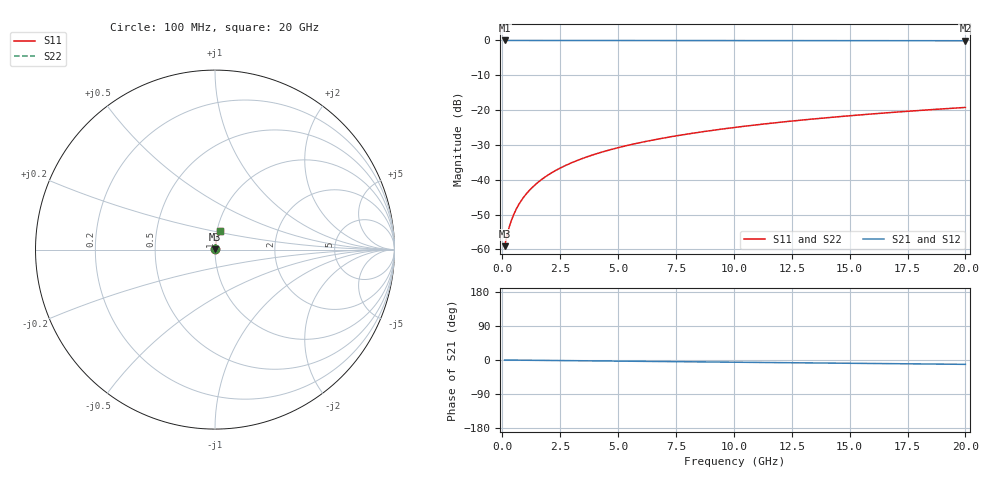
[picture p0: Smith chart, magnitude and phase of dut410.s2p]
! Touchstone file exported from HFSS 2026.1.0
!  File:  C:/ffzhzh/LocalFiles/Ansys_Project_Files/temp_train_TMRDL_410_1783005067_53980.aedt
!  Generated:  11:12:26 PM Jul  2, 2026
!  Design:  TMRDL
!  Project:  temp_train_TMRDL_410_1783005067_53980
! Variables:
!  h_bsmrdl = 2um
!  h_ox = 20um
!  h_rdl = 5um
!  h_sub = 80um
!  h_tmrdl = 5.96um
!  h_tsv = 80um
!  h_via = 3um
!  l_bsmrdl = 300um
!  l_sub = 556.67um
!  l_tmrdl = 156.67um
!  m_sub = 200um
!  pitch = 29.08um
!  r_tsv = 6um
!  s_tmrdl = 10um
!  w_bsmrdl = 18um
!  w_sub = 500um
!  w_tmrdl = 11.27um
!  x_tsv_center1 = 162.305um
!  x_tsv_center2 = 480.305um
!  x_tsv_center3 = 648.245um
!  x_tsv_center4 = 966.245um
!  x_tsv_center5 = 1134.185um
!  x_tsv_center6 = 1452.185um
# GHz S MA R 50.000000
! Terminal data exported
! Port[1] = TM_RDL1_1_T1
! Port[2] = TM_RDL1_1_T2
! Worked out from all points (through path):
!   200 points, 100 MHz to 20 GHz, reference 50 ohm
!   highest |S21| = -0.01 dB at 100 MHz (marker M1); lowest = -0.1 dB at 20 GHz (marker M2)
!   group delay of S21, straight-line fit = 1.59 ps
!   lowest |S11| = -59.0 dB at 100 MHz (marker M3), VSWR 1.00, Z = 50.1 + j0.0633 ohm
!   |S11| at or under -10 dB: start of sweep to end of sweep
!   |S22| runs from -59.0 to -19.2 dB; largest |S21 - S12| = 2e-15
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0.1  0.001116 34.5  0.9991 -0.1  0.9991 -0.1  0.001116 34.5
! Gamma 0 0 0 0
! Port Impedance 50 0 50 0
0.2  0.00157 52.9  0.9991 -0.1  0.9991 -0.1  0.00157 52.9
0.3  0.002101 62.1  0.999 -0.2  0.999 -0.2  0.002101 62.1
0.4  0.002655 67.5  0.999 -0.2  0.999 -0.2  0.002655 67.5
0.5  0.003216 71.0  0.999 -0.3  0.999 -0.3  0.003216 71.0
0.6  0.003781 73.4  0.9989 -0.4  0.9989 -0.4  0.003781 73.4
0.8  0.004921 76.7  0.9989 -0.5  0.9989 -0.5  0.004921 76.7
1.1  0.006646 79.4  0.9988 -0.7  0.9988 -0.7  0.006646 79.4
1.3  0.007802 80.6  0.9988 -0.8  0.9988 -0.8  0.007802 80.6
1.6  0.009539 81.6  0.9987 -1.0  0.9987 -1.0  0.009539 81.6
2.1  0.01243 82.6  0.9986 -1.3  0.9986 -1.3  0.01243 82.6
2.7  0.01589 83.1  0.9984 -1.6  0.9984 -1.6  0.01589 83.1
3.5  0.02046 83.3  0.9981 -2.1  0.9981 -2.1  0.02046 83.3
4.2  0.02441 83.2  0.9978 -2.5  0.9978 -2.5  0.02441 83.2
5  0.02889 82.9  0.9975 -2.9  0.9975 -2.9  0.02889 82.9
5.9  0.03388 82.6  0.9971 -3.5  0.9971 -3.5  0.03388 82.6
6.8  0.03883 82.3  0.9967 -4.0  0.9967 -4.0  0.03883 82.3
8.3  0.04702 81.7  0.9961 -4.8  0.9961 -4.8  0.04702 81.7
10.1  0.05676 80.9  0.9952 -5.9  0.9952 -5.9  0.05676 80.9
13.4  0.07447 79.5  0.9936 -7.7  0.9936 -7.7  0.07447 79.5
16.7  0.092 77.9  0.9917 -9.6  0.9917 -9.6  0.092 77.9
20  0.1093 76.2  0.9895 -11.5  0.9895 -11.5  0.1093 76.2
